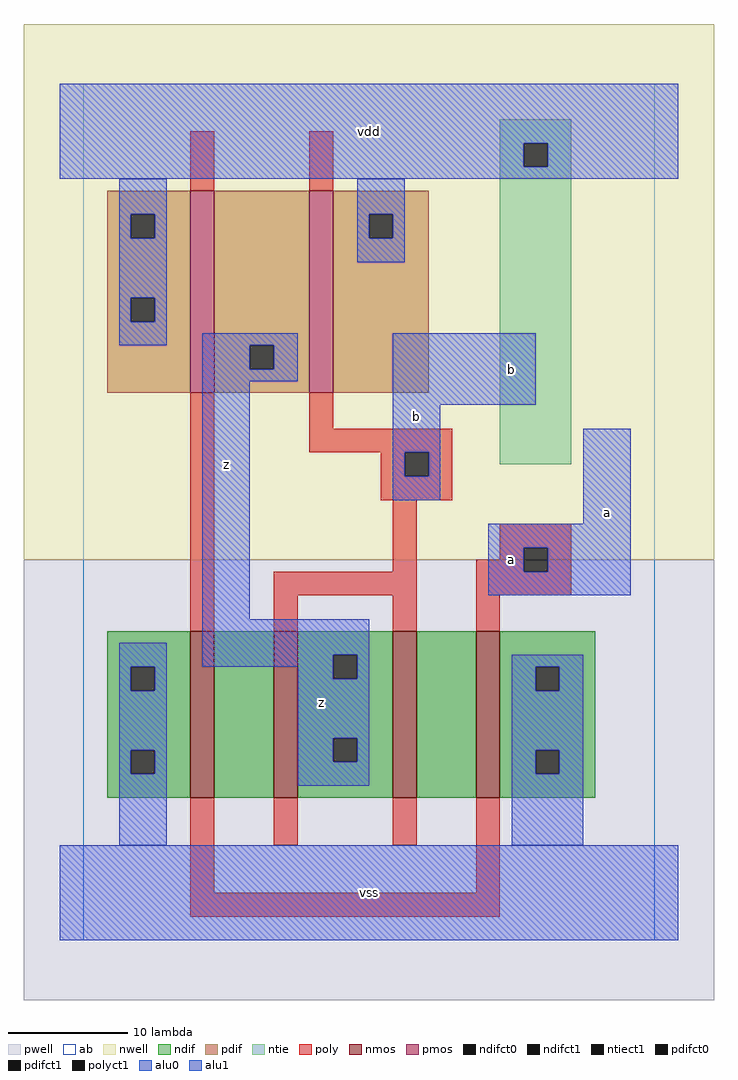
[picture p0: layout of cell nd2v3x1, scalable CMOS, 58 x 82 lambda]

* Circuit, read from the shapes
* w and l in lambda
.subckt nd2v3x1 a b vdd vss z
M1 n1 a vss VSUBS nfet w=14 l=2
M2 z b n1 VSUBS nfet w=14 l=2
M3 n2 b z VSUBS nfet w=14 l=2
M4 vss a n2 VSUBS nfet w=14 l=2
M5 z a vdd vdd pfet w=17 l=2
M6 vdd b z vdd pfet w=17 l=2
.ends

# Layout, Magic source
magic
tech scmos
<< ab >>
rect 0 0 48 72
<< nwell >>
rect -5 32 53 77
<< pwell >>
rect -5 -5 53 32
<< poly >>
rect 9 63 11 68
rect 19 63 21 68
rect 9 26 11 46
rect 19 43 21 46
rect 19 41 31 43
rect 25 39 27 41
rect 29 39 31 41
rect 25 37 31 39
rect 26 31 28 37
rect 35 33 41 35
rect 35 32 37 33
rect 16 29 28 31
rect 16 26 18 29
rect 26 26 28 29
rect 33 31 37 32
rect 39 31 41 33
rect 33 29 41 31
rect 33 26 35 29
rect 9 4 11 12
rect 16 8 18 12
rect 26 8 28 12
rect 33 4 35 12
rect 9 2 35 4
<< ndif >>
rect 2 23 9 26
rect 2 21 4 23
rect 6 21 9 23
rect 2 16 9 21
rect 2 14 4 16
rect 6 14 9 16
rect 2 12 9 14
rect 11 12 16 26
rect 18 24 26 26
rect 18 22 21 24
rect 23 22 26 24
rect 18 17 26 22
rect 18 15 21 17
rect 23 15 26 17
rect 18 12 26 15
rect 28 12 33 26
rect 35 23 43 26
rect 35 21 38 23
rect 40 21 43 23
rect 35 16 43 21
rect 35 14 38 16
rect 40 14 43 16
rect 35 12 43 14
<< pdif >>
rect 2 61 9 63
rect 2 59 4 61
rect 6 59 9 61
rect 2 54 9 59
rect 2 52 4 54
rect 6 52 9 54
rect 2 46 9 52
rect 11 50 19 63
rect 11 48 14 50
rect 16 48 19 50
rect 11 46 19 48
rect 21 61 29 63
rect 21 59 24 61
rect 26 59 29 61
rect 21 46 29 59
<< alu1 >>
rect -2 67 50 72
rect -2 65 37 67
rect 39 65 50 67
rect -2 64 50 65
rect 10 50 18 51
rect 10 48 14 50
rect 16 48 18 50
rect 10 47 18 48
rect 10 27 14 47
rect 26 45 38 51
rect 26 41 30 45
rect 26 39 27 41
rect 29 39 30 41
rect 26 37 30 39
rect 42 35 46 43
rect 34 33 46 35
rect 34 31 37 33
rect 39 31 46 33
rect 34 29 46 31
rect 10 24 24 27
rect 10 23 21 24
rect 18 22 21 23
rect 23 22 24 24
rect 18 17 24 22
rect 18 15 21 17
rect 23 15 24 17
rect 18 13 24 15
rect -2 0 50 8
<< ntie >>
rect 35 67 41 69
rect 35 65 37 67
rect 39 65 41 67
rect 35 40 41 65
<< nmos >>
rect 9 12 11 26
rect 16 12 18 26
rect 26 12 28 26
rect 33 12 35 26
<< pmos >>
rect 9 46 11 63
rect 19 46 21 63
<< polyct1 >>
rect 27 39 29 41
rect 37 31 39 33
<< ndifct0 >>
rect 4 21 6 23
rect 4 14 6 16
rect 38 21 40 23
rect 38 14 40 16
<< ndifct1 >>
rect 21 22 23 24
rect 21 15 23 17
<< ntiect1 >>
rect 37 65 39 67
<< pdifct0 >>
rect 4 59 6 61
rect 4 52 6 54
rect 24 59 26 61
<< pdifct1 >>
rect 14 48 16 50
<< alu0 >>
rect 3 61 7 64
rect 3 59 4 61
rect 6 59 7 61
rect 3 54 7 59
rect 23 61 27 64
rect 23 59 24 61
rect 26 59 27 61
rect 23 57 27 59
rect 3 52 4 54
rect 6 52 7 54
rect 3 50 7 52
rect 3 23 7 25
rect 3 21 4 23
rect 6 21 7 23
rect 3 16 7 21
rect 3 14 4 16
rect 6 14 7 16
rect 3 8 7 14
rect 36 23 42 24
rect 36 21 38 23
rect 40 21 42 23
rect 36 16 42 21
rect 36 14 38 16
rect 40 14 42 16
rect 36 8 42 14
<< labels >>
rlabel alu1 20 20 20 20 6 z
rlabel alu1 12 40 12 40 6 z
rlabel alu1 24 4 24 4 6 vss
rlabel alu1 28 44 28 44 6 b
rlabel alu1 24 68 24 68 6 vdd
rlabel alu1 36 32 36 32 6 a
rlabel alu1 44 36 44 36 6 a
rlabel alu1 36 48 36 48 6 b
<< end >>
